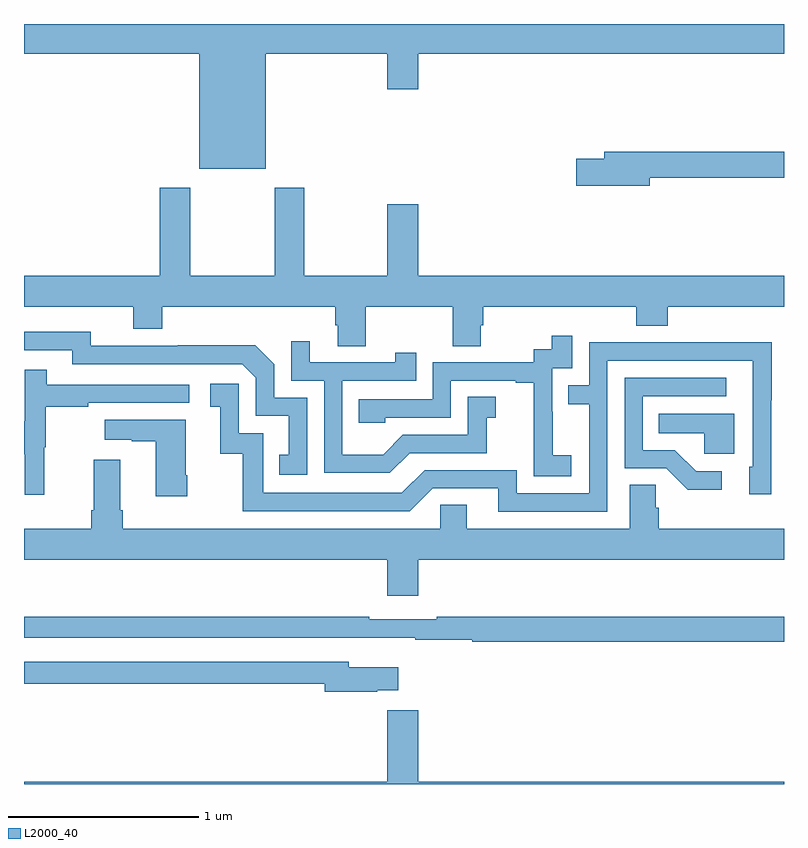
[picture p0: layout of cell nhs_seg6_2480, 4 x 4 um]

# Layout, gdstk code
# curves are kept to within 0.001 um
import gdstk
lib = gdstk.Library(unit=1e-6, precision=1e-09)
def P(c, l, *ps):  # polygons
    for p in ps: c.add(gdstk.Polygon(p, *l))
L2000_40 = (2000, 40)

nhs_seg6_2480 = lib.new_cell('nhs_seg6_2480')
P(nhs_seg6_2480, L2000_40, [(260.272,939.344),(260.912,939.344),(260.912,939.156),(261.076,939.156),(261.076,939.344),(263,939.344),(263,939.5),(259,939.5),(259,939.344),(259.922,939.344),(259.922,938.738),(260.272,938.738)],
  [(262.294,938.692),(263,938.692),(263,938.828),(262.055,938.828),(262.055,938.792),(261.906,938.792),(261.906,938.65),(262.294,938.65)],
  [(260.799,938.012),(261.256,938.012),(261.256,937.804),(261.403,937.804),(261.403,937.914),(261.416,937.914),(261.416,938.012),(262.223,938.012),(262.223,937.913),(262.388,937.913),(262.388,938.012),(263,938.012),(263,938.176),(261.076,938.176),(261.076,938.551),(260.912,938.551),(260.912,938.176),(260.475,938.176),(260.475,938.638),(260.32,938.638),(260.32,938.176),(259.875,938.176),(259.875,938.638),(259.715,938.638),(259.715,938.176),(259,938.176),(259,938.012),(259.574,938.012),(259.574,937.895),(259.727,937.895),(259.727,938.012),(260.639,938.012),(260.639,937.914),(260.651,937.914),(260.651,937.804),(260.799,937.804)],
  [(260.49,937.533),(260.316,937.533),(260.316,937.71),(260.218,937.808),(259.81,937.808),(259.81,937.806),(259.35,937.806),(259.35,937.879),(259,937.879),(259,937.782),(259.254,937.782),(259.254,937.71),(260.148,937.71),(260.22,937.638),(260.22,937.437),(260.393,937.437),(260.393,937.233),(260.344,937.233),(260.344,937.128),(260.49,937.128)],
  [(261.88,937.231),(261.782,937.231),(261.782,937.46),(261.78,937.46),(261.78,937.689),(261.885,937.689),(261.885,937.858),(261.777,937.858),(261.777,937.788),(261.684,937.788),(261.684,937.719),(261.15,937.719),(261.15,937.524),(260.761,937.524),(260.761,937.401),(260.901,937.401),(260.901,937.428),(261.246,937.428),(261.246,937.623),(261.587,937.623),(261.587,937.611),(261.683,937.611),(261.683,937.327),(261.682,937.327),(261.682,937.121),(261.88,937.121)],
  [(261.031,937.242),(261.435,937.242),(261.435,937.427),(261.484,937.427),(261.484,937.537),(261.336,937.537),(261.336,937.338),(260.994,937.338),(260.89,937.234),(260.676,937.234),(260.676,937.623),(261.065,937.623),(261.065,937.771),(260.954,937.771),(260.954,937.719),(260.503,937.719),(260.503,937.831),(260.406,937.831),(260.406,937.623),(260.58,937.623),(260.58,937.137),(260.926,937.137)],
  [(262.071,937.728),(262.835,937.728),(262.836,937.17),(262.817,937.17),(262.817,937.026),(262.932,937.026),(262.932,937.519),(262.935,937.519),(262.935,937.826),(262.471,937.826),(262.471,937.824),(261.975,937.824),(261.975,937.599),(261.865,937.599),(261.865,937.498),(261.975,937.498),(261.975,937.029),(261.594,937.029),(261.594,937.152),(261.108,937.152),(260.988,937.032),(260.259,937.032),(260.259,937.347),(260.13,937.347),(260.13,937.606),(259.98,937.606),(259.98,937.485),(260.033,937.485),(260.033,937.239),(260.151,937.239),(260.151,936.936),(261.03,936.936),(261.15,937.056),(261.497,937.056),(261.497,936.933),(262.071,936.933)],
  [(259.106,937.272),(259.114,937.272),(259.114,937.486),(259.337,937.486),(259.337,937.506),(259.87,937.506),(259.87,937.602),(259.121,937.602),(259.121,937.681),(259.004,937.681),(259.004,937.409),(259,937.409),(259,937.235),(259.004,937.235),(259.004,937.023),(259.106,937.023)],
  [(262.672,937.146),(262.537,937.146),(262.426,937.257),(262.257,937.257),(262.257,937.542),(262.696,937.542),(262.696,937.638),(262.161,937.638),(262.161,937.161),(262.38,937.161),(262.493,937.049),(262.672,937.049)],
  [(262.738,937.45),(262.342,937.45),(262.342,937.346),(262.581,937.346),(262.581,937.238),(262.738,937.238)],
  [(259.86,937.126),(259.852,937.126),(259.852,937.417),(259.425,937.417),(259.425,937.313),(259.568,937.313),(259.568,937.303),(259.694,937.303),(259.694,937.014),(259.86,937.014)],
  [(261.076,936.68),(263,936.68),(263,936.844),(262.34,936.844),(262.34,936.953),(262.326,936.953),(262.326,937.076),(262.187,937.076),(262.187,936.844),(261.331,936.844),(261.331,936.971),(261.192,936.971),(261.192,936.844),(259.52,936.844),(259.52,936.94),(259.507,936.94),(259.507,937.207),(259.367,937.207),(259.367,936.94),(259.355,936.94),(259.355,936.844),(259,936.844),(259,936.68),(260.912,936.68),(260.912,936.492),(261.076,936.492)],
  [(263,936.379),(261.172,936.379),(261.172,936.366),(260.816,936.366),(260.816,936.379),(259,936.379),(259,936.27),(260.806,936.27),(260.806,936.269),(261.058,936.269),(261.058,936.258),(261.358,936.258),(261.358,936.25),(263,936.25)],
  [(260.858,935.993),(260.971,935.993),(260.971,936.115),(260.71,936.115),(260.71,936.144),(259,936.144),(259,936.028),(260.582,936.028),(260.582,935.986),(260.858,935.986)],
  [(263,935.512),(261.076,935.512),(261.076,935.887),(260.912,935.887),(260.912,935.512),(259,935.512),(259,935.5),(263,935.5)])

lib.write_gds('nhs_seg6_2480.gds')
